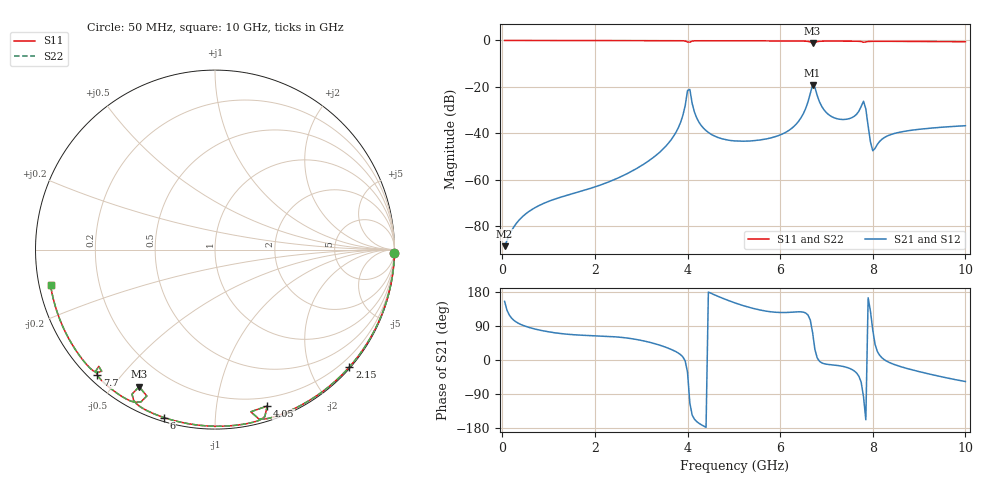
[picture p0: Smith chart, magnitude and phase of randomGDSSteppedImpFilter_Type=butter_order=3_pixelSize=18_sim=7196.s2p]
! freq	dB(S11)	phase(S11)	dB(S12)	phase(S12)
!  dB(S21)	phase(S21)	dB(S22)	phase(S22)
!S-par simulation data
#  GHz  S  DB  R 50
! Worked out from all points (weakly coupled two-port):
!   200 points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, 50 MHz to 10 GHz, reference 50 ohm
!   highest |S21| = -19.24 dB at 6.7 GHz (marker M1); lowest = -88.5 dB at 50 MHz (marker M2)
!   lowest |S11| = -1.2 dB at 6.7 GHz (marker M3), VSWR 14.72, Z = 4.57 - j29.3 ohm
!   |S11| at or under -10 dB: nowhere
!   |S22| runs from -1.2 to 0.0 dB; largest |S21 - S12| = 0
!   S11 on the Smith chart (normalised r, x): 50 MHz: open; 2.15 GHz: 0.02, -2.66; 4.05 GHz: 0.12, -1.38; 6 GHz: 0.02, -0.74; 7.7 GHz: 0.03, -0.43; 10 GHz: 0.03, -0.11
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0.05  -0.00 -1.0  -88.55 154.6  -88.55 154.6  -0.00 -1.0
1.75  -0.04 -33.7  -64.60 65.2  -64.60 65.2  -0.04 -33.7
2.15  -0.05 -41.1  -62.00 63.2  -62.00 63.2  -0.05 -41.1
3.4  -0.09 -63.9  -48.11 39.1  -48.11 39.1  -0.09 -63.9
3.8  -0.11 -71.5  -37.60 18.4  -37.60 18.4  -0.11 -71.4
3.9  -0.15 -73.8  -32.23 8.0  -32.23 8.0  -0.15 -73.8
4  -0.68 -77.6  -21.54 -32.8  -21.54 -32.8  -0.67 -77.5
4.05  -0.74 -71.5  -21.07 -113.7  -21.07 -113.7  -0.73 -71.6
4.15  -0.17 -75.0  -30.88 -156.3  -30.88 -156.3  -0.17 -75.1
4.35  -0.12 -79.3  -37.85 -174.5  -37.85 -174.5  -0.12 -79.3
5.05  -0.14 -91.4  -43.27 149.6  -43.27 149.6  -0.14 -91.4
6  -0.19 -107.0  -40.65 125.4  -40.65 125.4  -0.19 -107.0
6.45  -0.26 -114.8  -33.30 127.1  -33.30 127.1  -0.26 -114.8
6.7  -1.18 -119.0  -19.24 73.1  -19.24 73.1  -1.18 -119.0
6.9  -0.31 -118.7  -28.47 -7.7  -28.47 -7.7  -0.31 -118.7
7.1  -0.27 -122.7  -32.65 -12.6  -32.65 -12.6  -0.27 -122.7
7.45  -0.29 -128.6  -33.85 -20.0  -33.85 -20.0  -0.29 -128.6
7.7  -0.37 -133.3  -30.44 -42.7  -30.44 -42.7  -0.37 -133.3
7.8  -0.75 -134.8  -26.15 -97.1  -26.15 -97.1  -0.74 -134.8
8  -0.36 -136.0  -47.47 79.0  -47.47 79.0  -0.36 -136.0
8.35  -0.37 -141.8  -40.80 -6.2  -40.80 -6.2  -0.37 -141.8
10  -0.56 -167.7  -36.70 -56.7  -36.70 -56.7  -0.56 -167.7
